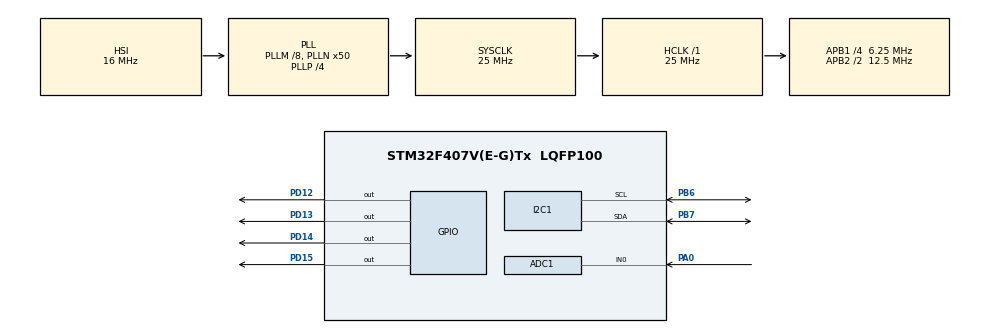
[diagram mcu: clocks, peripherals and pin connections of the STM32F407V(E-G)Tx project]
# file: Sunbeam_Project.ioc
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ADC1.Channel-0\#ChannelRegularConversion=ADC_CHANNEL_0
ADC1.NbrOfConversionFlag=1
ADC1.Rank-0\#ChannelRegularConversion=1
ADC1.SamplingTime-0\#ChannelRegularConversion=ADC_SAMPLETIME_3CYCLES
ADC1.master=1
Mcu.Family=STM32F4
Mcu.Name=STM32F407V(E-G)Tx
Mcu.Package=LQFP100
NVIC.PriorityGroup=NVIC_PRIORITYGROUP_0
PA0-WKUP.Signal=ADCx_IN0
PB6.Mode=I2C
PB6.Signal=I2C1_SCL
PB7.Mode=I2C
PB7.Signal=I2C1_SDA
PD12.Signal=GPIO_Output
PD13.Signal=GPIO_Output
PD14.Signal=GPIO_Output
PD15.Signal=GPIO_Output
ProjectManager.HeapSize=0x200
ProjectManager.StackSize=0x400
ProjectManager.TargetToolchain=STM32CubeIDE
RCC.48MHZClocksFreq_Value=14285714.285714285
RCC.AHBFreq_Value=25000000
RCC.APB1CLKDivider=RCC_HCLK_DIV4
RCC.APB1Freq_Value=6250000
RCC.APB1TimFreq_Value=12500000
RCC.APB2CLKDivider=RCC_HCLK_DIV2
RCC.APB2Freq_Value=12500000
RCC.APB2TimFreq_Value=25000000
RCC.CortexFreq_Value=25000000
RCC.HCLKFreq_Value=25000000
RCC.HSE_VALUE=8000000
RCC.HSI_VALUE=16000000
RCC.LSE_VALUE=32768
RCC.PLLM=8
RCC.PLLN=50
RCC.PLLP=RCC_PLLP_DIV4
RCC.PLLQ=7
RCC.SYSCLKFreq_VALUE=25000000
RCC.SYSCLKSource=RCC_SYSCLKSOURCE_PLLCLK
RCC.VCOOutputFreq_Value=100000000
SH.ADCx_IN0.0=ADC1_IN0,IN0
board=STM32F407G-DISC1

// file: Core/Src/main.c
/* USER CODE BEGIN Header */
/**
  ******************************************************************************
  * @file           : main.c
  * @brief          : Main program body
  ******************************************************************************
  * @attention
  *
  * Copyright (c) 2025 STMicroelectronics.
  * All rights reserved.
  *
  * This software is licensed under terms that can be found in the LICENSE file
  * in the root directory of this software component.
  * If no LICENSE file comes with this software, it is provided AS-IS.
  *
  ******************************************************************************
  */
/* USER CODE END Header */
#include "main.h"
#include<string.h>
#include<stdio.h>
#include "my_lcd.h"

ADC_HandleTypeDef hadc1;

I2C_HandleTypeDef hi2c1;

void SystemClock_Config(void);
static void MX_GPIO_Init(void);
static void MX_ADC1_Init(void);
static void MX_I2C1_Init(void);

int main(void)
{

  /* MCU Configuration--------------------------------------------------------*/

  /* Reset of all peripherals, Initializes the Flash interface and the Systick. */
  HAL_Init();

  /* Configure the system clock */
  SystemClock_Config();

  /* Initialize all configured peripherals */
  MX_GPIO_Init();
  MX_ADC1_Init();
  MX_I2C1_Init();
  /* USER CODE BEGIN 2 */
  if (!lcd16x2_i2c_init(&hi2c1))
      {
          // LCD not detected
          while(1);
       }

    char str[20];
    uint32_t val;
    //float temp;
    uint32_t air_value;

    lcd16x2_i2c_clear();
    HAL_Delay(500);
    lcd16x2_i2c_setCursor(0, 0);
    HAL_Delay(500);
    //lcd16x2_i2c_printf("Air :");

  /* USER CODE END 2 */

  /* Infinite loop */
  while (1)
  {

    /* USER CODE BEGIN 3 */
	  HAL_ADC_Start(&hadc1);
	  HAL_ADC_PollForConversion(&hadc1, HAL_MAX_DELAY);
	  val = HAL_ADC_GetValue(&hadc1);
	  HAL_ADC_Stop(&hadc1);

	  //mq2_vlaue();

	  air_value = mq2_value(val);

	  lcd16x2_i2c_setCursor(0, 12);
	  sprintf(str, "%lu", air_value);
	  lcd16x2_i2c_printf(str);
	  HAL_Delay(500);

  }
  /* USER CODE END 3 */
}

void SystemClock_Config(void)
{
  RCC_OscInitTypeDef RCC_OscInitStruct = {0};
  RCC_ClkInitTypeDef RCC_ClkInitStruct = {0};

  /** Configure the main internal regulator output voltage
  */
  __HAL_RCC_PWR_CLK_ENABLE();
  __HAL_PWR_VOLTAGESCALING_CONFIG(PWR_REGULATOR_VOLTAGE_SCALE1);

  /** Initializes the RCC Oscillators according to the specified parameters
  * in the RCC_OscInitTypeDef structure.
  */
  RCC_OscInitStruct.OscillatorType = RCC_OSCILLATORTYPE_HSI;
  RCC_OscInitStruct.HSIState = RCC_HSI_ON;
  RCC_OscInitStruct.HSICalibrationValue = RCC_HSICALIBRATION_DEFAULT;
  RCC_OscInitStruct.PLL.PLLState = RCC_PLL_ON;
  RCC_OscInitStruct.PLL.PLLSource = RCC_PLLSOURCE_HSI;
  RCC_OscInitStruct.PLL.PLLM = 8;
  RCC_OscInitStruct.PLL.PLLN = 50;
  RCC_OscInitStruct.PLL.PLLP = RCC_PLLP_DIV4;
  RCC_OscInitStruct.PLL.PLLQ = 7;
  if (HAL_RCC_OscConfig(&RCC_OscInitStruct) != HAL_OK)
  {
    Error_Handler();
  }

  /** Initializes the CPU, AHB and APB buses clocks
  */
  RCC_ClkInitStruct.ClockType = RCC_CLOCKTYPE_HCLK|RCC_CLOCKTYPE_SYSCLK
                              |RCC_CLOCKTYPE_PCLK1|RCC_CLOCKTYPE_PCLK2;
  RCC_ClkInitStruct.SYSCLKSource = RCC_SYSCLKSOURCE_PLLCLK;
  RCC_ClkInitStruct.AHBCLKDivider = RCC_SYSCLK_DIV1;
  RCC_ClkInitStruct.APB1CLKDivider = RCC_HCLK_DIV4;
  RCC_ClkInitStruct.APB2CLKDivider = RCC_HCLK_DIV2;

  if (HAL_RCC_ClockConfig(&RCC_ClkInitStruct, FLASH_LATENCY_0) != HAL_OK)
  {
    Error_Handler();
  }
}

static void MX_ADC1_Init(void)
{

  ADC_ChannelConfTypeDef sConfig = {0};

  /** Configure the global features of the ADC (Clock, Resolution, Data Alignment and number of conversion)
  */
  hadc1.Instance = ADC1;
  hadc1.Init.ClockPrescaler = ADC_CLOCK_SYNC_PCLK_DIV2;
  hadc1.Init.Resolution = ADC_RESOLUTION_12B;
  hadc1.Init.ScanConvMode = DISABLE;
  hadc1.Init.ContinuousConvMode = DISABLE;
  hadc1.Init.DiscontinuousConvMode = DISABLE;
  hadc1.Init.ExternalTrigConvEdge = ADC_EXTERNALTRIGCONVEDGE_NONE;
  hadc1.Init.ExternalTrigConv = ADC_SOFTWARE_START;
  hadc1.Init.DataAlign = ADC_DATAALIGN_RIGHT;
  hadc1.Init.NbrOfConversion = 1;
  hadc1.Init.DMAContinuousRequests = DISABLE;
  hadc1.Init.EOCSelection = ADC_EOC_SINGLE_CONV;
  if (HAL_ADC_Init(&hadc1) != HAL_OK)
  {
    Error_Handler();
  }

  /** Configure for the selected ADC regular channel its corresponding rank in the sequencer and its sample time.
  */
  sConfig.Channel = ADC_CHANNEL_0;
  sConfig.Rank = 1;
  sConfig.SamplingTime = ADC_SAMPLETIME_3CYCLES;
  if (HAL_ADC_ConfigChannel(&hadc1, &sConfig) != HAL_OK)
  {
    Error_Handler();
  }

}

static void MX_I2C1_Init(void)
{

  hi2c1.Instance = I2C1;
  hi2c1.Init.ClockSpeed = 100000;
  hi2c1.Init.DutyCycle = I2C_DUTYCYCLE_2;
  hi2c1.Init.OwnAddress1 = 0;
  hi2c1.Init.AddressingMode = I2C_ADDRESSINGMODE_7BIT;
  hi2c1.Init.DualAddressMode = I2C_DUALADDRESS_DISABLE;
  hi2c1.Init.OwnAddress2 = 0;
  hi2c1.Init.GeneralCallMode = I2C_GENERALCALL_DISABLE;
  hi2c1.Init.NoStretchMode = I2C_NOSTRETCH_DISABLE;
  if (HAL_I2C_Init(&hi2c1) != HAL_OK)
  {
    Error_Handler();
  }

}

static void MX_GPIO_Init(void)
{
  GPIO_InitTypeDef GPIO_InitStruct = {0};

  /* GPIO Ports Clock Enable */
  __HAL_RCC_GPIOA_CLK_ENABLE();
  __HAL_RCC_GPIOD_CLK_ENABLE();
  __HAL_RCC_GPIOB_CLK_ENABLE();

  /*Configure GPIO pin Output Level */
  HAL_GPIO_WritePin(GPIOD, GPIO_PIN_12|GPIO_PIN_13|GPIO_PIN_14|GPIO_PIN_15, GPIO_PIN_RESET);

  /*Configure GPIO pins : PD12 PD13 PD14 PD15 */
  GPIO_InitStruct.Pin = GPIO_PIN_12|GPIO_PIN_13|GPIO_PIN_14|GPIO_PIN_15;
  GPIO_InitStruct.Mode = GPIO_MODE_OUTPUT_PP;
  GPIO_InitStruct.Pull = GPIO_NOPULL;
  GPIO_InitStruct.Speed = GPIO_SPEED_FREQ_LOW;
  HAL_GPIO_Init(GPIOD, &GPIO_InitStruct);

}

void Error_Handler(void)
{
  __disable_irq();
  while (1)
  {
  }
}
